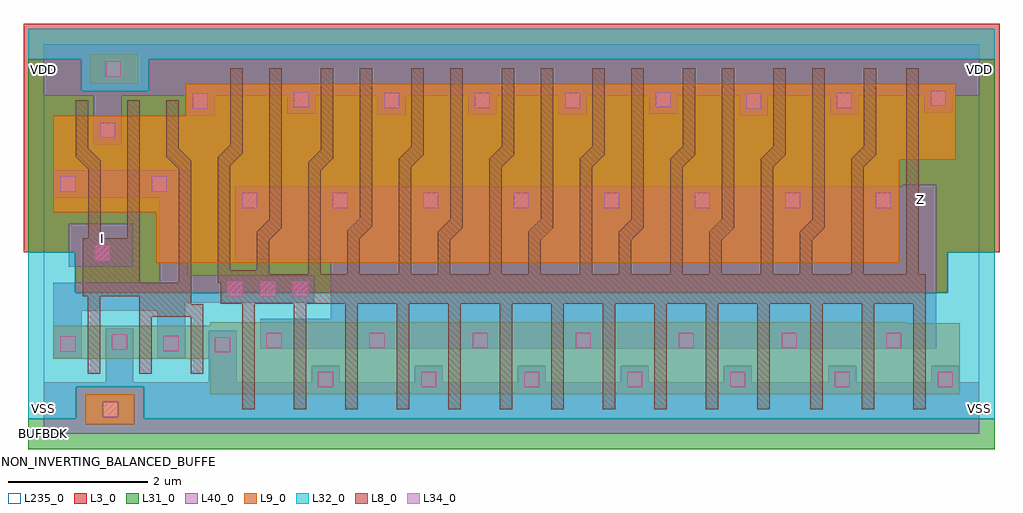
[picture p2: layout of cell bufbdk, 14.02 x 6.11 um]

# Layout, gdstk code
import gdstk
lib = gdstk.Library(unit=1e-6, precision=1e-09)
def R(c, l, rs):  # rectangles x0, y0, x1, y1
    for r in rs: c.add(gdstk.rectangle(r[:2], r[2:], *l))
def A(c, l, x, y, w, h, nx, ny, dx, dy):  # array of equal rectangles
    R(c, l, [(x+i*dx, y+j*dy, x+i*dx+w, y+j*dy+h) for i in range(nx) for j in range(ny)])
def P(c, l, *ps):  # polygons
    for p in ps: c.add(gdstk.Polygon(p, *l))
L3_0 = (3, 0)
L8_0 = (8, 0)
L9_0 = (9, 0)
L31_0 = (31, 0)
L32_0 = (32, 0)
L34_0 = (34, 0)
L40_0 = (40, 0)
L235_0 = (235, 0)

bufbdk = lib.new_cell('bufbdk')
P(bufbdk, L3_0, [(0.45,2.03),(0.45,2.61),(-0.29,2.61),(-0.29,5.89),(13.73,5.89),(13.73,2.61),(12.99,2.61),(12.99,2.03)])
A(bufbdk, L8_0, 8.03, 0.35, 0.18, 1.52, 4, 1, 0.74, 0)
A(bufbdk, L8_0, 11.01, 0.35, 0.18, 1.52, 3, 1, 0.74, 0)
A(bufbdk, L8_0, 8.26, 2.29, 0.18, 0.49, 3, 1, 1.3, 0)
R(bufbdk, L8_0, [(12.39,2.29,12.57,5.25)])
P(bufbdk, L8_0, [(2.85,0.35),(2.85,1.87),(2.54,1.87),(2.54,2.17),(2.5,2.17),(2.5,2.35),(3.06,2.35),(3.06,2.78),(3.24,2.78),(3.24,2.29),(4.36,2.29),(4.36,2.8),(4.54,2.8),(4.54,2.29),(5.66,2.29),(5.66,2.78),(5.84,2.78),(5.84,2.29),(6.96,2.29),(6.96,2.78),(7.14,2.78),(7.14,2.29),(12.67,2.29),(12.67,1.87),(7.47,1.87),(7.47,0.35),(7.29,0.35),(7.29,1.87),(6.73,1.87),(6.73,0.35),(6.55,0.35),(6.55,1.87),(5.99,1.87),(5.99,0.35),(5.81,0.35),(5.81,1.87),(5.25,1.87),(5.25,0.35),(5.07,0.35),(5.07,1.87),(4.51,1.87),(4.51,0.35),(4.33,0.35),(4.33,1.87),(3.77,1.87),(3.77,0.35),(3.59,0.35),(3.59,1.87),(3.03,1.87),(3.03,0.35)],
  [(3.06,2.78),(3.06,2.9),(3.24,3.08),(3.24,5.25),(3.42,5.25),(3.42,2.96),(3.24,2.78)],
  [(0.63,0.86),(0.63,1.98),(0.56,1.98),(0.56,2.81),(0.64,2.81),(0.64,3.8),(0.46,3.98),(0.46,4.79),(0.64,4.79),(0.64,4.1),(0.82,3.92),(0.82,2.81),(1.2,2.81),(1.2,4.79),(1.38,4.79),(1.38,2.17),(1.94,2.17),(1.94,3.8),(1.76,3.98),(1.76,4.79),(1.94,4.79),(1.94,4.1),(2.12,3.92),(2.12,1.86),(2.29,1.86),(2.29,0.86),(2.11,0.86),(2.11,1.68),(1.55,1.68),(1.55,0.86),(1.37,0.86),(1.37,1.98),(0.81,1.98),(0.81,0.86)],
  [(11.6,2.29),(11.6,3.95),(11.78,4.13),(11.78,5.25),(11.96,5.25),(11.96,4.01),(11.78,3.83),(11.78,2.29)],
  [(10.86,2.78),(10.86,2.9),(11.04,3.08),(11.04,5.25),(11.22,5.25),(11.22,2.96),(11.04,2.78)],
  [(10.3,2.29),(10.3,3.95),(10.48,4.13),(10.48,5.25),(10.66,5.25),(10.66,4.01),(10.48,3.83),(10.48,2.29)],
  [(9.56,2.78),(9.56,2.9),(9.74,3.08),(9.74,5.25),(9.92,5.25),(9.92,2.96),(9.74,2.78)],
  [(9,2.29),(9,3.95),(9.18,4.13),(9.18,5.25),(9.36,5.25),(9.36,4.01),(9.18,3.83),(9.18,2.29)],
  [(8.26,2.78),(8.26,2.9),(8.44,3.08),(8.44,5.25),(8.62,5.25),(8.62,2.96),(8.44,2.78)],
  [(7.7,2.29),(7.7,3.95),(7.88,4.13),(7.88,5.25),(8.06,5.25),(8.06,4.01),(7.88,3.83),(7.88,2.29)],
  [(6.96,2.78),(6.96,2.9),(7.14,3.08),(7.14,5.25),(7.32,5.25),(7.32,2.96),(7.14,2.78)],
  [(6.4,2.29),(6.4,3.95),(6.58,4.13),(6.58,5.25),(6.76,5.25),(6.76,4.01),(6.58,3.83),(6.58,2.29)],
  [(5.66,2.78),(5.66,2.9),(5.84,3.08),(5.84,5.25),(6.02,5.25),(6.02,2.96),(5.84,2.78)],
  [(5.1,2.29),(5.1,3.95),(5.28,4.13),(5.28,5.25),(5.46,5.25),(5.46,4.01),(5.28,3.83),(5.28,2.29)],
  [(4.36,2.8),(4.36,2.92),(4.54,3.1),(4.54,5.25),(4.72,5.25),(4.72,2.98),(4.54,2.8)],
  [(3.8,2.29),(3.8,3.9),(3.98,4.08),(3.98,5.25),(4.16,5.25),(4.16,3.96),(3.98,3.78),(3.98,2.29)],
  [(2.5,2.35),(2.5,3.97),(2.68,4.15),(2.68,5.25),(2.86,5.25),(2.86,4.03),(2.68,3.85),(2.68,2.35)])
R(bufbdk, L9_0, [(0.6,0.14,1.3,0.57), (0.67,5.03,1.36,5.45)])
P(bufbdk, L9_0, [(2.39,0.57),(2.39,1.08),(0.14,1.08),(0.14,1.55),(2.39,1.55),(2.39,1.6),(12.39,1.6),(12.39,1.59),(13.16,1.59),(13.16,0.57)],
  [(1.62,2.46),(1.62,3.18),(0.14,3.18),(0.14,4.57),(2.04,4.57),(2.04,5.03),(13.1,5.03),(13.1,3.94),(12.29,3.94),(12.29,2.46)])
P(bufbdk, L31_0, [(-0.22,-0.22),(-0.22,0.22),(0.47,0.22),(0.47,0.68),(1.44,0.68),(1.44,0.22),(13.66,0.22),(13.66,-0.22)],
  [(0.45,2.03),(0.45,2.61),(-0.22,2.61),(-0.22,5.38),(0.54,5.38),(0.54,4.92),(1.51,4.92),(1.51,5.38),(13.66,5.38),(13.66,2.61),(12.99,2.61),(12.99,2.03)])
P(bufbdk, L32_0, [(-0.22,0.22),(-0.22,2.61),(0.45,2.61),(0.45,2.03),(12.99,2.03),(12.99,2.61),(13.66,2.61),(13.66,0.22),(1.44,0.22),(1.44,0.68),(0.47,0.68),(0.47,0.22)],
  [(0.54,4.92),(0.54,5.38),(-0.22,5.38),(-0.22,5.82),(13.66,5.82),(13.66,5.38),(1.51,5.38),(1.51,4.92)])
A(bufbdk, L34_0, 3.94, 0.67, 0.22, 0.22, 5, 1, 1.48, 0)
A(bufbdk, L34_0, 3.2, 1.23, 0.22, 0.22, 6, 1, 1.48, 0)
A(bufbdk, L34_0, 2.64, 1.97, 0.22, 0.22, 3, 1, 0.47, 0)
A(bufbdk, L34_0, 2.85, 3.24, 0.22, 0.22, 8, 1, 1.3, 0)
A(bufbdk, L34_0, 4.89, 4.68, 0.22, 0.22, 3, 1, 1.3, 0)
R(bufbdk, L34_0, [(0.85,0.24,1.07,0.46), (11.36,0.67,11.58,0.89), (12.84,0.67,13.06,0.89), (2.46,1.17,2.68,1.39), (0.24,1.18,0.46,1.4), (1.72,1.19,1.94,1.41), (0.98,1.21,1.2,1.43), (12.1,1.23,12.32,1.45), (0.73,2.49,0.95,2.71), (0.24,3.48,0.46,3.7), (1.55,3.48,1.77,3.7), (0.81,4.25,1.03,4.47), (2.14,4.67,2.36,4.89), (10.09,4.67,10.31,4.89), (11.39,4.68,11.61,4.9), (3.59,4.69,3.81,4.91), (8.79,4.69,9.01,4.91), (12.74,4.71,12.96,4.93), (0.89,5.13,1.11,5.35)])
R(bufbdk, L40_0, [(0.36,2.4,1.28,3.02), (2.75,2.51,3.55,3.15)])
P(bufbdk, L40_0, [(0,0),(0,0.74),(0.89,0.74),(0.89,1.52),(1.29,1.52),(1.29,0.74),(2.37,0.74),(2.37,1.48),(2.77,1.48),(2.77,0.74),(3.85,0.74),(3.85,0.98),(4.25,0.98),(4.25,0.74),(5.33,0.74),(5.33,0.98),(5.73,0.98),(5.73,0.74),(6.81,0.74),(6.81,0.98),(7.21,0.98),(7.21,0.74),(8.29,0.74),(8.29,0.98),(8.69,0.98),(8.69,0.74),(9.77,0.74),(9.77,0.98),(10.17,0.98),(10.17,0.74),(11.27,0.74),(11.27,0.98),(11.67,0.98),(11.67,0.74),(12.75,0.74),(12.75,0.98),(13.15,0.98),(13.15,0.74),(13.44,0.74),(13.44,0)],
  [(3.11,1.22),(3.11,1.65),(4.12,1.65),(4.12,2.51),(3.55,2.51),(3.55,3.15),(2.75,3.15),(2.75,3.55),(12.33,3.55),(12.33,3.58),(12.82,3.58),(12.82,1.22)],
  [(0.14,1.09),(0.14,2.17),(1.67,2.17),(1.67,3.39),(0.14,3.39),(0.14,3.79),(2.07,3.79),(2.07,2.28),(3.89,2.28),(3.89,1.88),(2.03,1.88),(2.03,1.09),(1.63,1.09),(1.63,1.77),(0.55,1.77),(0.55,1.09)],
  [(0.72,4.16),(0.72,4.86),(0,4.86),(0,5.6),(13.44,5.6),(13.44,4.86),(13.05,4.86),(13.05,4.62),(12.65,4.62),(12.65,4.86),(11.7,4.86),(11.7,4.59),(11.3,4.59),(11.3,4.86),(10.4,4.86),(10.4,4.58),(10,4.58),(10,4.86),(9.1,4.86),(9.1,4.6),(8.7,4.6),(8.7,4.86),(7.8,4.86),(7.8,4.59),(7.4,4.59),(7.4,4.86),(6.5,4.86),(6.5,4.59),(6.1,4.59),(6.1,4.86),(5.2,4.86),(5.2,4.59),(4.8,4.59),(4.8,4.86),(3.9,4.86),(3.9,4.6),(3.5,4.6),(3.5,4.86),(2.45,4.86),(2.45,4.58),(2.05,4.58),(2.05,4.86),(1.12,4.86),(1.12,4.16)])
R(bufbdk, L235_0, [(0,0,13.44,5.6)])
bufbdk.add(gdstk.Label('Copyright__c__2003__2004_Synopsys__Inc_', (0,-1.6), layer=96, texttype=0))
bufbdk.add(gdstk.Label('DT__28_May_2003_16_58_44', (0,-1.2), layer=96, texttype=0))
bufbdk.add(gdstk.Label('Rev__3', (0,-0.8), layer=96, texttype=0))
bufbdk.add(gdstk.Label('NON_INVERTING_BALANCED_BUFFER__20_X_DRIVE', (0,-0.4), layer=96, texttype=0))
bufbdk.add(gdstk.Label('BUFBDK', (0,0), layer=96, texttype=0))
bufbdk.add(gdstk.Label('Copyright (c) 2003, 2004 Synopsys, Inc.', (0,-1.6), layer=96, texttype=0))
bufbdk.add(gdstk.Label('DT. 3-Jul-2003 20:44:14', (0,-1.2), layer=96, texttype=0))
bufbdk.add(gdstk.Label('Rev. 4', (0,-0.8), layer=96, texttype=0))
bufbdk.add(gdstk.Label('NON-INVERTING BALANCED BUFFER, 20 X DRIVE', (0,-0.4), layer=96, texttype=0))
bufbdk.add(gdstk.Label('BUFBDK', (0,0), layer=96, texttype=0))
bufbdk.add(gdstk.Label('Z', (12.6,3.36), layer=40, texttype=7))
bufbdk.add(gdstk.Label('I', (0.84,2.8), layer=40, texttype=7))
bufbdk.add(gdstk.Label('VSS', (13.44,0.37), layer=40, texttype=7))
bufbdk.add(gdstk.Label('VSS', (0,0.37), layer=40, texttype=7))
bufbdk.add(gdstk.Label('VDD', (0,5.23), layer=40, texttype=7))
bufbdk.add(gdstk.Label('VDD', (13.44,5.23), layer=40, texttype=7))

lib.write_gds('bufbdk.gds')
